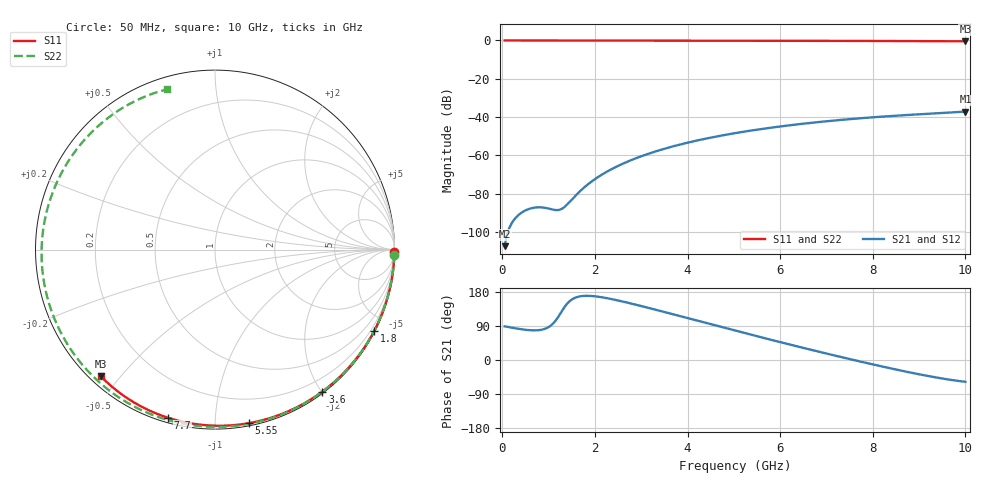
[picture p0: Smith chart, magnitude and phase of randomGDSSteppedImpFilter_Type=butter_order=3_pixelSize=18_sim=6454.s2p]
! freq	dB(S11)	phase(S11)	dB(S12)	phase(S12)
!  dB(S21)	phase(S21)	dB(S22)	phase(S22)
!S-par simulation data
#  GHz  S  DB  R 50
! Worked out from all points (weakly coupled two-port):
!   200 points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, 50 MHz to 10 GHz, reference 50 ohm
!   highest |S21| = -37.12 dB at 10 GHz (marker M1); lowest = -107.4 dB at 50 MHz (marker M2)
!   lowest |S11| = -0.4 dB at 10 GHz (marker M3), VSWR 39.10, Z = 1.53 - j22.2 ohm
!   |S11| at or under -10 dB: nowhere
!   |S22| runs from -0.6 to 0.0 dB; largest |S21 - S12| = 0
!   S11 on the Smith chart (normalised r, x): 50 MHz: open; 1.8 GHz: 0.04, -4.15; 3.6 GHz: 0.02, -2.01; 5.55 GHz: 0.02, -1.21; 7.7 GHz: 0.02, -0.76; 10 GHz: 0.03, -0.44
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0.05  -0.00 -0.8  -107.37 88.8  -107.37 88.8  -0.00 -1.7
0.4  -0.01 -6.1  -90.13 81.4  -90.13 81.4  -0.02 -13.2
0.8  -0.02 -12.1  -87.08 78.9  -87.08 78.9  -0.03 -26.2
1.2  -0.02 -18.2  -88.54 112.4  -88.54 112.4  -0.05 -39.0
1.6  -0.03 -24.1  -80.54 165.5  -80.54 165.5  -0.06 -51.4
1.75  -0.03 -26.3  -77.09 169.1  -77.09 169.1  -0.07 -55.9
1.8  -0.03 -27.1  -76.06 169.4  -76.06 169.4  -0.07 -57.4
2.1  -0.04 -31.5  -70.79 166.5  -70.79 166.5  -0.08 -66.3
2.45  -0.05 -36.6  -66.06 158.4  -66.06 158.4  -0.09 -76.3
2.9  -0.06 -43.1  -61.35 145.5  -61.35 145.5  -0.11 -88.7
3.4  -0.07 -50.1  -57.25 129.9  -57.25 129.9  -0.12 -101.9
3.6  -0.07 -52.9  -55.85 123.5  -55.85 123.5  -0.13 -107.0
4.35  -0.09 -63.2  -51.46 99.3  -51.46 99.3  -0.16 -125.2
5.05  -0.11 -72.6  -48.28 76.9  -48.28 76.9  -0.19 -141.3
5.55  -0.13 -79.1  -46.38 61.1  -46.38 61.1  -0.22 -152.4
6.1  -0.15 -86.0  -44.59 44.1  -44.59 44.1  -0.25 -164.3
6.7  -0.18 -93.5  -42.92 25.9  -42.92 25.9  -0.29 -177.2
7.2  -0.21 -99.6  -41.72 11.2  -41.72 11.2  -0.32 172.1
7.7  -0.24 -105.6  -40.67 -3.2  -40.67 -3.2  -0.36 161.2
8.35  -0.29 -113.2  -39.51 -21.1  -39.51 -21.1  -0.42 146.8
9.15  -0.36 -122.5  -38.32 -41.2  -38.32 -41.2  -0.49 128.3
10  -0.44 -132.1  -37.12 -57.5  -37.12 -57.5  -0.62 106.6
